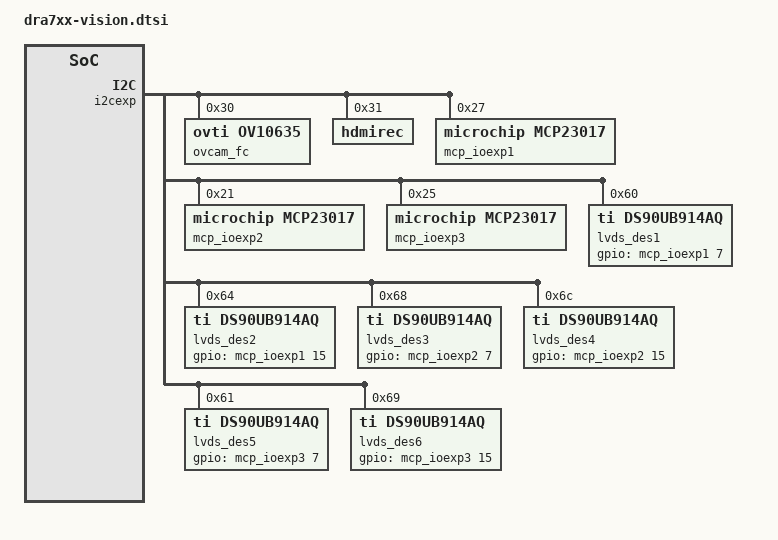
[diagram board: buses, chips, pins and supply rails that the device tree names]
/*
 * Copyright (C) 2013 Texas Instruments Incorporated - http://www.ti.com/
 *
 * This program is free software; you can redistribute it and/or modify
 * it under the terms of the GNU General Public License version 2 as
 * published by the Free Software Foundation.
 */

/ {
	aliases {
		i2c11 = &lvds_des1;
		i2c12 = &lvds_des2;
		i2c13 = &lvds_des3;
		i2c14 = &lvds_des4;
		i2c15 = &lvds_des5;
		i2c16 = &lvds_des6;
	};
};

&i2cexp {

	ovcam_fc: ov10635@30 {
		compatible = "ovti,ov10635";
		reg = <0x30>;

		port {
			ovcam: endpoint {
				hsync-active = <1>;
				vsync-active = <1>;
				pclk-sample = <1>;
			};
		};
	};

	/*
	 * This is a HDMI reciever which conflicts with the I2C addresses
	 * of I/O expanders. It needs to be configured to use some other
	 * address.
	 */
	hdmirec: hdmirec@31 {
		reg=<0x31>;
	};

	/*
	 * These are I/O expanders which drive some signals of the deserializer
	 * Each 16bit I/O expander drives two deserializers
	 * The mapping of I/O expanders and deserializer is as follows:-
	 * I/O Expander	| Deserializer
	 * -------------+----------------
	 * mcp_ioexp1(0x27)	| lvds_des1(0x60)
	 * mcp_ioexp1(0x27)	| lvds_des2(0x64)
	 * mcp_ioexp2(0x21)	| lvds_des3(0x68)
	 * mcp_ioexp2(0x21)	| lvds_des4(0x6c)
	 * mcp_ioexp3(0x25)	| lvds_des5(0x61)
	 * mcp_ioexp4(0x25)	| lvds_des6(0x69)
	 */
	mcp_ioexp1: ioexp@27 {
		compatible = "microchip,mcp23017";
		reg=<0x27>;
		gpio-controller;
		#gpio-cells = <2>;

		init-dir = <0x0000>;
		init-val = <0x6363>;
		/* 15:pdb, 14:sel, 13:oen, 12:bisten, 11:gpio0, 10-8:mode
		 *  7:pdb,  6:sel,  5:oen,  4:bisten,  3:gpio0,  2-0:mode */
	};

	mcp_ioexp2: ioexp@21 {
		compatible = "microchip,mcp23017";
		reg=<0x21>;
		gpio-controller;
		#gpio-cells = <2>;

		init-dir = <0x0000>;
		init-val = <0x6363>;
		/* 15:pdb, 14:sel, 13:oen, 12:bisten, 11:gpio0, 10-8:mode
		 *  7:pdb,  6:sel,  5:oen,  4:bisten,  3:gpio0,  2-0:mode */
	};

	mcp_ioexp3: ioexp@25 {
		compatible = "microchip,mcp23017";
		reg=<0x25>;
		gpio-controller;
		#gpio-cells = <2>;

		init-dir = <0x0000>;
		init-val = <0x6363>;
		/* 15:pdb, 14:sel, 13:oen, 12:bisten, 11:gpio0, 10-8:mode
		 *  7:pdb,  6:sel,  5:oen,  4:bisten,  3:gpio0,  2-0:mode */
	};

	lvds_des1: deserializer@60 {
		compatible = "ti,ds90ub914aq";
		reg = <0x60>;

		gpios =	<&mcp_ioexp1 7 0>;	/* pdb */

		#address-cells = <1>;
		#size-cells = <0>;
	};

	lvds_des2: deserializer@64 {
		compatible = "ti,ds90ub914aq";
		reg = <0x64>;

		gpios =	<&mcp_ioexp1 15 0>;	/* pdb */

		#address-cells = <1>;
		#size-cells = <0>;
	};

	lvds_des3: deserializer@68 {
		compatible = "ti,ds90ub914aq";
		reg = <0x68>;

		gpios =	<&mcp_ioexp2 7 0>;	/* pdb */

		#address-cells = <1>;
		#size-cells = <0>;
	};

	lvds_des4: deserializer@6c {
		compatible = "ti,ds90ub914aq";
		reg = <0x6c>;

		gpios =	<&mcp_ioexp2 15 0>;	/* pdb */

		#address-cells = <1>;
		#size-cells = <0>;
	};

	lvds_des5: deserializer@61 {
		compatible = "ti,ds90ub914aq";
		reg = <0x61>;

		gpios =	<&mcp_ioexp3 7 0>;	/* pdb */

		#address-cells = <1>;
		#size-cells = <0>;
	};

	lvds_des6: deserializer@69 {
		compatible = "ti,ds90ub914aq";
		reg = <0x69>;

		gpios =	<&mcp_ioexp3 15 0>;	/* pdb */

		#address-cells = <1>;
		#size-cells = <0>;
	};
};

&lvds_des1 {
	ranges = <0x58 0x74>,
		 <0x30 0x38>;

	lvds_ser1: serializer@74 {
		compatible = "ti,ds90ub913aq";
		reg = <0x58>;
		slave-mode;
	};

	ovcam1: ov10635@38 {
		compatible = "ovti,ov10635";
		reg = <0x30>;

		port {
			cam1: endpoint {
				hsync-active = <1>;
				vsync-active = <1>;
				pclk-sample = <0>;
			};
		};
	};
};

&lvds_des2 {
	ranges = <0x58 0x75>,
		 <0x30 0x39>;

	lvds_ser2: serializer@75 {
		compatible = "ti,ds90ub913aq";
		reg = <0x58>;
		slave-mode;
	};

	ovcam2: ov10635@39 {
		compatible = "ovti,ov10635";
		reg = <0x30>;

		port {
			cam2: endpoint {
				hsync-active = <1>;
				vsync-active = <1>;
				pclk-sample = <0>;
			};
		};
	};
};

&lvds_des3 {
	ranges = <0x58 0x76>,
		 <0x30 0x3a>;

	lvds_ser3: serializer@76 {
		compatible = "ti,ds90ub913aq";
		reg = <0x58>;
		slave-mode;
	};

	ovcam3: ov10635@3a {
		compatible = "ovti,ov10635";
		reg = <0x30>;

		port {
			cam3: endpoint {
				hsync-active = <1>;
				vsync-active = <1>;
				pclk-sample = <0>;
			};
		};
	};
};

&lvds_des4 {
	ranges = <0x58 0x77>,
		 <0x30 0x3b>;

	lvds_ser4: serializer@77 {
		compatible = "ti,ds90ub913aq";
		reg = <0x58>;
		slave-mode;
	};

	ovcam4: ov10635@3b {
		compatible = "ovti,ov10635";
		reg = <0x30>;

		port {
			cam4: endpoint {
				hsync-active = <1>;
				vsync-active = <1>;
				pclk-sample = <0>;
			};
		};
	};
};

&lvds_des5 {
	ranges = <0x58 0x78>,
		 <0x30 0x3c>;

	lvds_ser5: serializer@78 {
		compatible = "ti,ds90ub913aq";
		reg = <0x58>;
		slave-mode;
	};

	ovcam5: ov10635@3c {
		compatible = "ovti,ov10635";
		reg = <0x30>;

		port {
			cam5: endpoint {
				hsync-active = <1>;
				vsync-active = <1>;
				pclk-sample = <0>;
			};
		};
	};
};

&lvds_des6 {
	ranges = <0x58 0x79>,
		 <0x30 0x3d>;

	lvds_ser6: serializer@79 {
		compatible = "ti,ds90ub913aq";
		reg = <0x58>;
		slave-mode;
	};

	ovcam6: ov10635@3d {
		compatible = "ovti,ov10635";
		reg = <0x30>;

		port {
			cam6: endpoint {
				hsync-active = <1>;
				vsync-active = <1>;
				pclk-sample = <0>;
			};
		};
	};
};
